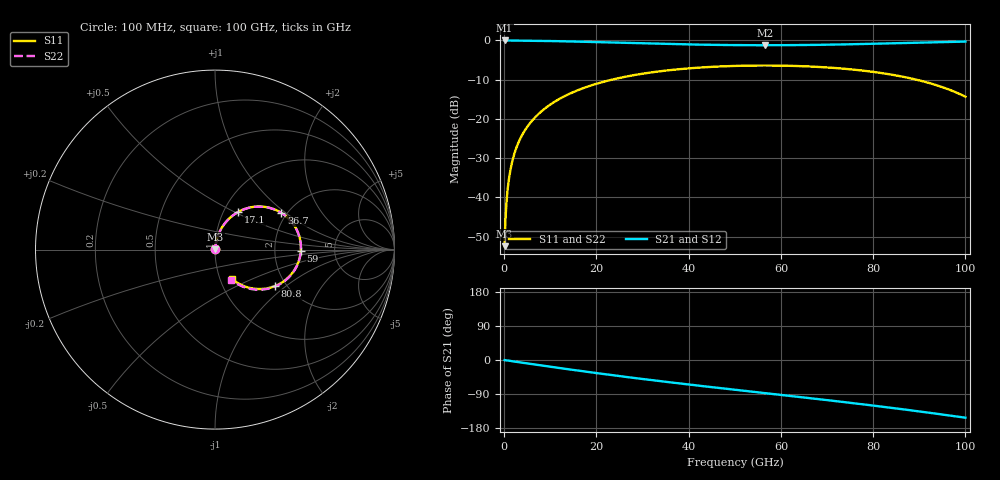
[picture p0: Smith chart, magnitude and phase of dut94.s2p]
! Touchstone file exported from HFSS 2026.1.0
!  File:  C:/ffzhzh/LocalFiles/Ansys_Project_Files/temp_train_RDL_94_1783499014_9504.aedt
!  Generated:  04:24:56 PM Jul  8, 2026
!  Design:  RDL
!  Project:  temp_train_RDL_94_1783499014_9504
! Variables:
!  h_bsmrdl = 2um
!  h_ox = 20um
!  h_rdl = 5um
!  h_sub = 80um
!  h_tmrdl = 4.9um
!  h_tsv = 80um
!  h_via = 3um
!  l_bsmrdl = 300um
!  l_sub = 912.89um
!  l_tmrdl = 512.89um
!  m_sub = 200um
!  pitch = 52.28um
!  r_tsv = 6um
!  s_tmrdl = 10um
!  w_bsmrdl = 18um
!  w_sub = 500um
!  w_tmrdl = 27.33um
!  x_tsv_center1 = 526.555um
!  x_tsv_center2 = 844.555um
!  x_tsv_center3 = 1384.775um
!  x_tsv_center4 = 1702.775um
!  x_tsv_center5 = 2242.995um
!  x_tsv_center6 = 2560.995um
# GHz S MA R 50.000000
! Terminal data exported
! Port[1] = TM_RDL1_1_T1
! Port[2] = TM_RDL1_1_T2
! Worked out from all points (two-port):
!   1000 points, 100 MHz to 100 GHz, reference 50 ohm
!   highest |S21| = -0.01 dB at 100 MHz (marker M1); lowest = -1.2 dB at 56.6 GHz (marker M2)
!   |S21| within 3 dB of the highest: start of sweep to end of sweep
!   lowest |S11| = -52.4 dB at 100 MHz (marker M3), VSWR 1.00, Z = 50.2 + j0.182 ohm
!   |S11| at or under -10 dB: start of sweep to 23.36 GHz; 89.37 GHz to end of sweep
!   |S22| runs from -52.4 to -6.4 dB; largest |S21 - S12| = 3.4e-14
!   S11 on the Smith chart (normalised r, x): 100 MHz: 1.00, +0.00; 17.1 GHz: 1.17, +0.52; 36.7 GHz: 1.87, +0.93; 59 GHz: 2.83, -0.07; 80.8 GHz: 1.75, -0.84; 100 GHz: 1.14, -0.39
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0.1  0.002397 49.2  0.9984 -0.2  0.9984 -0.2  0.002397 49.2
! Gamma 0 0 0 0
! Port Impedance 50 0 50 0
0.8  0.01334 79.9  0.9979 -1.5  0.9979 -1.5  0.01334 79.9
1.1  0.01817 81.3  0.9977 -2.0  0.9977 -2.0  0.01816 81.3
1.4  0.02299 81.8  0.9975 -2.6  0.9975 -2.6  0.02299 81.8
2.4  0.03896 81.6  0.9965 -4.4  0.9965 -4.4  0.03896 81.6
3.9  0.0624 79.6  0.9944 -7.1  0.9944 -7.1  0.0624 79.6
6.1  0.09574 76.2  0.9906 -11.0  0.9906 -11.0  0.09574 76.2
8.9  0.1367 71.7  0.9847 -15.8  0.9847 -15.8  0.1367 71.7
12.5  0.1869 65.9  0.9754 -22.0  0.9754 -22.0  0.1869 65.8
16.8  0.2424 58.9  0.9623 -29.2  0.9623 -29.2  0.2424 58.9
17.1  0.2461 58.5  0.9613 -29.7  0.9613 -29.7  0.2461 58.4
24.4  0.3267 47.1  0.9363 -41.5  0.9363 -41.5  0.3267 46.9
33.4  0.4019 33.7  0.9063 -55.2  0.9063 -55.2  0.4019 33.5
36.7  0.4229 29.0  0.8967 -59.9  0.8967 -59.9  0.4228 28.8
50.1  0.4733 10.6  0.8712 -78.6  0.8712 -78.6  0.4733 10.4
56.6  0.479 2.0  0.8681 -87.4  0.8681 -87.4  0.4789 1.7
59  0.4781 -1.2  0.8685 -90.7  0.8685 -90.7  0.478 -1.5
66.7  0.464 -11.5  0.8757 -101.2  0.8757 -101.2  0.4639 -11.9
80.8  0.3917 -31.2  0.9085 -121.4  0.9085 -121.4  0.3915 -31.8
83.4  0.3713 -34.9  0.9165 -125.4  0.9165 -125.4  0.3712 -35.7
92.4  0.284 -48.4  0.9453 -139.6  0.9453 -139.6  0.2838 -49.5
100  0.1918 -59.7  0.9661 -152.3  0.9661 -152.3  0.1915 -61.6
